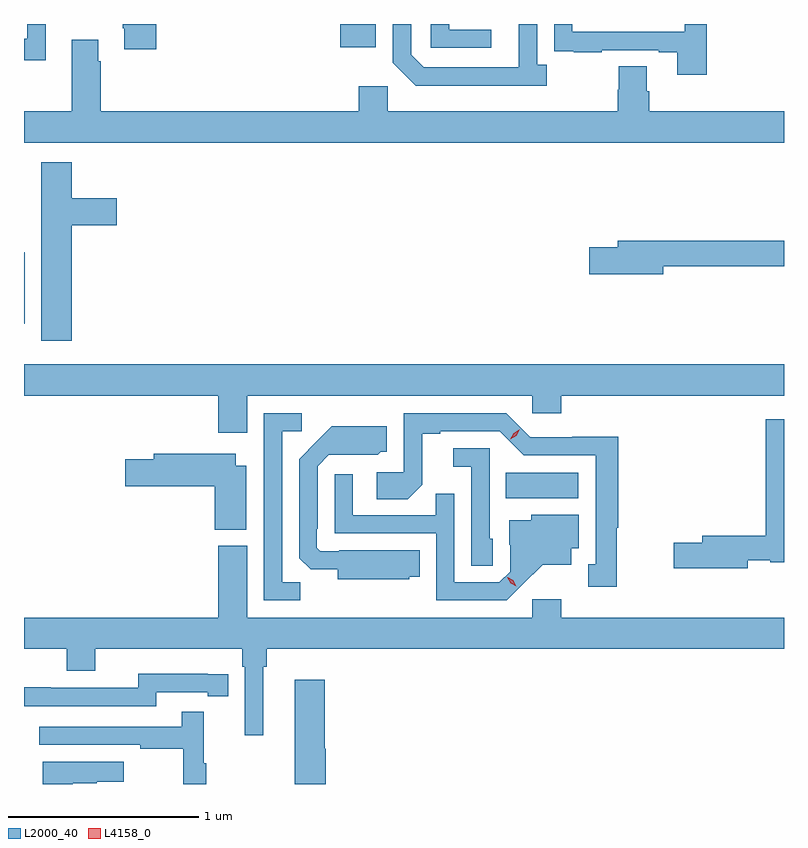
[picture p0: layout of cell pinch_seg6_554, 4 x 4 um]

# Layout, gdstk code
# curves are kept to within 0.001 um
import gdstk
lib = gdstk.Library(unit=1e-6, precision=1e-09)
def R(c, l, rs):  # rectangles x0, y0, x1, y1
    for r in rs: c.add(gdstk.rectangle(r[:2], r[2:], *l))
def P(c, l, *ps):  # polygons
    for p in ps: c.add(gdstk.Polygon(p, *l))
L2000_40 = (2000, 40)
L4158_0 = (4158, 0)

pinch_seg6_554 = lib.new_cell('pinch_seg6_554')
R(pinch_seg6_554, L2000_40, [(604.456,970.772,604.837,970.906), (601.92,971.691,601.923,972.067), (603.584,973.145,603.772,973.268)])
P(pinch_seg6_554, L2000_40, [(604.378,973.239),(604.158,973.239),(604.158,973.268),(604.062,973.268),(604.062,973.143),(604.378,973.143)],
  [(602.615,973.268),(602.44,973.268),(602.44,973.246),(602.447,973.246),(602.447,973.134),(602.615,973.134)],
  [(604.672,973.054),(604.62,973.054),(604.62,973.268),(604.524,973.268),(604.523,973.041),(604.023,973.041),(603.957,973.107),(603.957,973.268),(603.861,973.268),(603.861,973.065),(603.982,972.944),(604.672,972.944)],
  [(602.035,973.268),(601.938,973.268),(601.938,973.19),(601.92,973.19),(601.92,973.077),(602.035,973.077)],
  [(605.513,973.268),(605.397,973.268),(605.397,973.227),(604.806,973.227),(604.806,973.268),(604.71,973.268),(604.71,973.234),(604.711,973.234),(604.711,973.125),(604.813,973.125),(604.813,973.119),(604.961,973.119),(604.961,973.131),(605.261,973.131),(605.261,973.119),(605.357,973.119),(605.357,973.002),(605.513,973.002)],
  [(605.92,972.808),(605.21,972.808),(605.21,972.914),(605.197,972.914),(605.197,973.046),(605.05,973.046),(605.05,972.921),(605.045,972.921),(605.045,972.808),(603.834,972.808),(603.834,972.94),(603.683,972.94),(603.683,972.808),(602.324,972.808),(602.324,973.073),(602.311,973.073),(602.311,973.186),(602.171,973.186),(602.171,972.808),(601.92,972.808),(601.92,972.644),(605.92,972.644)],
  [(602.171,972.209),(602.407,972.209),(602.407,972.351),(602.171,972.351),(602.171,972.541),(602.012,972.541),(602.012,971.601),(602.171,971.601)],
  [(605.284,971.992),(605.92,971.992),(605.92,972.128),(605.045,972.128),(605.045,972.092),(604.896,972.092),(604.896,971.95),(605.284,971.95)],
  [(603.094,971.312),(604.596,971.312),(604.596,971.219),(604.748,971.219),(604.748,971.312),(605.92,971.312),(605.92,971.476),(601.92,971.476),(601.92,971.312),(602.942,971.312),(602.942,971.118),(603.094,971.118)],
  [(603.375,970.331),(603.279,970.331),(603.279,971.124),(603.382,971.124),(603.382,971.22),(603.183,971.22),(603.183,970.236),(603.375,970.236)],
  [(605.039,970.617),(605.047,970.617),(605.047,971.096),(604.806,971.096),(604.806,971.094),(604.584,971.094),(604.458,971.22),(603.918,971.22),(603.918,970.908),(603.777,970.908),(603.777,970.768),(603.941,970.768),(604.017,970.844),(604.017,971.112),(604.111,971.112),(604.111,971.124),(604.425,971.124),(604.551,970.998),(604.928,970.998),(604.928,970.425),(604.889,970.425),(604.889,970.305),(605.039,970.305)],
  [(605.728,970.446),(605.847,970.446),(605.847,970.434),(605.92,970.434),(605.92,971.188),(605.824,971.188),(605.824,970.574),(605.489,970.574),(605.489,970.538),(605.34,970.538),(605.34,970.403),(605.728,970.403)],
  [(603.948,970.358),(604.004,970.358),(604.004,970.498),(603.58,970.498),(603.58,970.494),(603.48,970.494),(603.462,970.512),(603.462,970.612),(603.465,970.612),(603.465,970.941),(603.525,971.001),(603.782,971),(603.798,971.016),(603.829,971.016),(603.829,971.152),(603.541,971.152),(603.369,970.978),(603.369,970.456),(603.428,970.397),(603.572,970.397),(603.572,970.346),(603.948,970.346)],
  [(604.386,970.56),(604.371,970.56),(604.371,971.034),(604.179,971.034),(604.179,970.937),(604.275,970.937),(604.275,970.417),(604.386,970.417)],
  [(603.091,970.942),(603.034,970.942),(603.034,971.007),(602.603,971.007),(602.603,970.977),(602.454,970.977),(602.454,970.835),(602.924,970.835),(602.924,970.607),(603.091,970.607)],
  [(604.546,970.319),(604.649,970.421),(604.801,970.421),(604.801,970.508),(604.84,970.508),(604.84,970.684),(604.59,970.684),(604.59,970.657),(604.475,970.657),(604.475,970.528),(604.479,970.528),(604.479,970.386),(604.422,970.329),(604.185,970.329),(604.185,970.796),(604.087,970.796),(604.087,970.683),(603.651,970.683),(603.651,970.897),(603.555,970.897),(603.555,970.587),(604.089,970.587),(604.089,970.236),(604.462,970.236)],
  [(603.178,969.884),(603.197,969.884),(603.197,969.98),(605.92,969.98),(605.92,970.144),(604.748,970.144),(604.748,970.24),(604.596,970.24),(604.596,970.144),(603.094,970.144),(603.094,970.522),(602.942,970.522),(602.942,970.144),(601.92,970.144),(601.92,969.98),(602.144,969.98),(602.144,969.863),(602.296,969.863),(602.296,969.98),(603.068,969.98),(603.068,969.884),(603.081,969.884),(603.081,969.525),(603.178,969.525)],
  [(602.616,969.75),(602.888,969.75),(602.888,969.73),(602.996,969.73),(602.996,969.846),(602.888,969.846),(602.888,969.847),(602.52,969.847),(602.52,969.774),(602.06,969.774),(602.06,969.776),(601.92,969.776),(601.92,969.678),(602.616,969.678)],
  [(603.508,969.453),(603.503,969.453),(603.503,969.817),(603.344,969.817),(603.344,969.268),(603.508,969.268)],
  [(602.878,969.377),(602.867,969.377),(602.867,969.649),(602.749,969.649),(602.749,969.57),(602.001,969.57),(602.001,969.474),(602.533,969.474),(602.533,969.454),(602.757,969.454),(602.757,969.268),(602.878,969.268)],
  [(602.176,969.271),(602.303,969.271),(602.303,969.281),(602.446,969.281),(602.446,969.385),(602.018,969.385),(602.018,969.268),(602.176,969.268)])
P(pinch_seg6_554, L4158_0, [(604.48,971.082),(604.48,971.083),(604.497,971.115),(604.529,971.134),(604.529,971.134),(604.529,971.134),(604.512,971.102),(604.48,971.082)],
  [(604.512,970.31),(604.481,970.325),(604.464,970.355),(604.464,970.355),(604.465,970.355),(604.495,970.34),(604.512,970.31),(604.512,970.31)])

lib.write_gds('pinch_seg6_554.gds')
